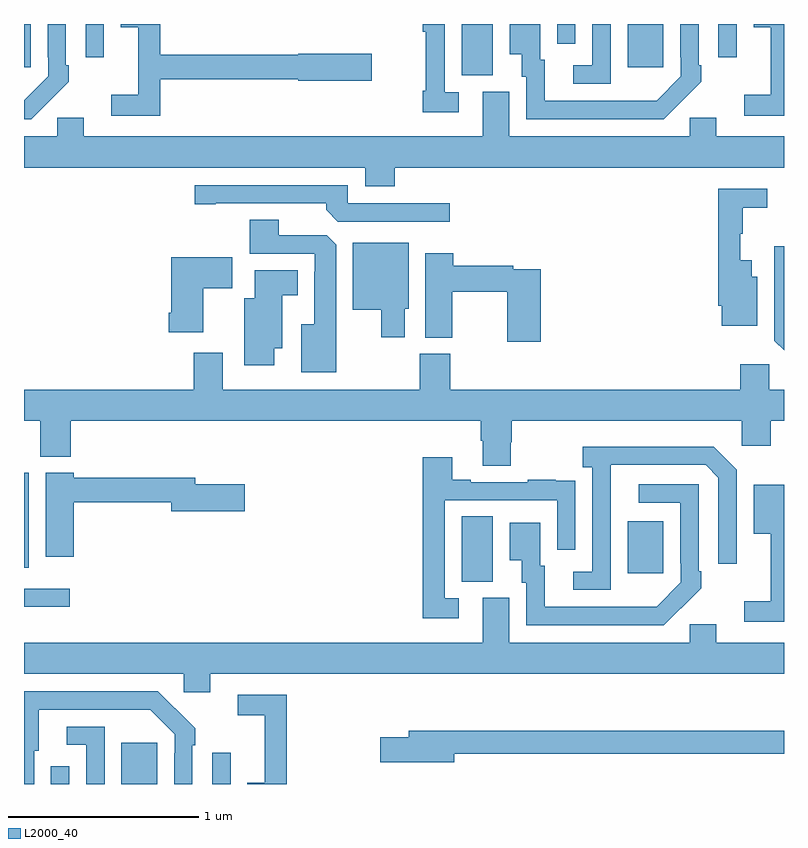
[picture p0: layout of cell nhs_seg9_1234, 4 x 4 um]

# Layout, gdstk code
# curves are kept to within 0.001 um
import gdstk
lib = gdstk.Library(unit=1e-6, precision=1e-09)
def R(c, l, rs):  # rectangles x0, y0, x1, y1
    for r in rs: c.add(gdstk.rectangle(r[:2], r[2:], *l))
def P(c, l, *ps):  # polygons
    for p in ps: c.add(gdstk.Polygon(p, *l))
L2000_40 = (2000, 40)

nhs_seg9_1234 = lib.new_cell('nhs_seg9_1234')
R(nhs_seg9_1234, L2000_40, [(179.142,1202.5,179.238,1202.593), (179.513,1202.5,179.701,1202.716), (179.991,1202.5,180.087,1202.665), (179,1203.432,179.242,1203.528), (181.304,1203.565,181.468,1203.908), (182.177,1203.609,182.365,1203.883), (179,1203.638,179.026,1204.138), (181.304,1206.229,181.468,1206.5), (179,1206.273,179.035,1206.5), (182.177,1206.273,182.365,1206.5), (179.325,1206.324,179.421,1206.5), (182.655,1206.324,182.751,1206.5), (181.806,1206.396,181.902,1206.5)])
P(nhs_seg9_1234, L2000_40, [(181.288,1206.141),(181.215,1206.141),(181.215,1206.5),(181.099,1206.5),(181.099,1206.459),(181.114,1206.459),(181.114,1206.148),(181.099,1206.148),(181.099,1206.036),(181.288,1206.036)],
  [(179.129,1206.091),(179.13,1206.09),(179.235,1206.195),(179.235,1206.283),(179.22,1206.283),(179.22,1206.5),(179.124,1206.5),(179.124,1206.325),(179.127,1206.325),(179.127,1206.225),(179,1206.098),(179,1206),(179.038,1206)],
  [(183,1206.5),(182.84,1206.5),(182.84,1206.482),(182.93,1206.482),(182.93,1206.127),(182.79,1206.127),(182.79,1206.018),(183,1206.018)],
  [(182.459,1206.091),(182.46,1206.09),(182.565,1206.195),(182.565,1206.283),(182.55,1206.283),(182.55,1206.5),(182.454,1206.5),(182.454,1206.325),(182.457,1206.325),(182.457,1206.225),(182.329,1206.097),(182.225,1206.096),(181.741,1206.096),(181.741,1206.312),(181.717,1206.312),(181.717,1206.5),(181.556,1206.5),(181.556,1206.341),(181.619,1206.341),(181.619,1206.222),(181.644,1206.222),(181.644,1206),(182.368,1206)],
  [(179.717,1206.21),(180.444,1206.21),(180.444,1206.202),(180.829,1206.202),(180.829,1206.344),(180.444,1206.344),(180.444,1206.338),(179.717,1206.338),(179.717,1206.5),(179.51,1206.5),(179.51,1206.482),(179.6,1206.482),(179.6,1206.127),(179.46,1206.127),(179.46,1206.018),(179.717,1206.018)],
  [(182.088,1206.5),(181.992,1206.5),(181.992,1206.282),(181.89,1206.282),(181.89,1206.186),(182.088,1206.186)],
  [(180.95,1205.744),(183,1205.744),(183,1205.908),(182.644,1205.908),(182.644,1206.006),(182.505,1206.006),(182.505,1205.908),(181.555,1205.908),(181.555,1206.144),(181.415,1206.144),(181.415,1205.908),(179.314,1205.908),(179.314,1206.006),(179.175,1206.006),(179.175,1205.908),(179,1205.908),(179,1205.744),(180.797,1205.744),(180.797,1205.645),(180.95,1205.645)],
  [(181.24,1205.556),(180.705,1205.556),(180.705,1205.652),(179.898,1205.652),(179.898,1205.551),(180.01,1205.551),(180.01,1205.556),(180.59,1205.556),(180.59,1205.522),(180.651,1205.46),(181.24,1205.46)],
  [(182.86,1205.17),(182.83,1205.17),(182.83,1205.257),(182.771,1205.257),(182.771,1205.397),(182.782,1205.397),(182.782,1205.533),(182.911,1205.533),(182.911,1205.634),(182.653,1205.634),(182.653,1205.017),(182.672,1205.017),(182.672,1204.913),(182.86,1204.913)],
  [(180.643,1205.339),(180.594,1205.388),(180.34,1205.388),(180.34,1205.471),(180.188,1205.471),(180.188,1205.292),(180.531,1205.292),(180.531,1205.195),(180.527,1205.195),(180.527,1204.921),(180.458,1204.921),(180.458,1204.667),(180.643,1204.667)],
  [(181.003,1205.001),(181.024,1205.001),(181.024,1205.35),(180.731,1205.35),(180.731,1204.997),(180.881,1204.997),(180.881,1204.851),(181.003,1204.851)],
  [(183,1205.329),(182.949,1205.329),(182.949,1204.833),(183,1204.782)],
  [(181.721,1205.208),(181.574,1205.208),(181.574,1205.228),(181.259,1205.228),(181.259,1205.293),(181.112,1205.293),(181.112,1204.849),(181.254,1204.849),(181.254,1205.092),(181.543,1205.092),(181.543,1204.827),(181.721,1204.827)],
  [(179.944,1205.11),(180.097,1205.11),(180.097,1205.272),(179.774,1205.272),(179.774,1204.981),(179.762,1204.981),(179.762,1204.877),(179.944,1204.877)],
  [(180.316,1204.793),(180.358,1204.793),(180.358,1205.072),(180.442,1205.072),(180.442,1205.203),(180.215,1205.203),(180.215,1205.056),(180.158,1205.056),(180.158,1204.704),(180.316,1204.704)],
  [(181.563,1204.299),(181.568,1204.299),(181.568,1204.412),(182.778,1204.412),(182.778,1204.281),(182.93,1204.281),(182.93,1204.412),(183,1204.412),(183,1204.576),(182.922,1204.576),(182.922,1204.708),(182.771,1204.708),(182.771,1204.576),(181.244,1204.576),(181.244,1204.764),(181.084,1204.764),(181.084,1204.576),(180.046,1204.576),(180.046,1204.771),(179.894,1204.771),(179.894,1204.576),(179,1204.576),(179,1204.412),(179.086,1204.412),(179.086,1204.223),(179.246,1204.223),(179.246,1204.412),(181.403,1204.412),(181.403,1204.306),(181.415,1204.306),(181.415,1204.174),(181.563,1204.174)],
  [(182.088,1203.979),(182.089,1204.179),(182.589,1204.179),(182.655,1204.113),(182.655,1203.66),(182.751,1203.66),(182.751,1204.155),(182.63,1204.276),(181.941,1204.276),(181.941,1204.166),(181.992,1204.166),(181.992,1203.618),(181.89,1203.618),(181.89,1203.522),(182.088,1203.522)],
  [(181.288,1203.477),(181.215,1203.477),(181.215,1203.993),(181.806,1203.993),(181.806,1203.732),(181.902,1203.732),(181.902,1203.986),(181.901,1203.986),(181.901,1204.095),(181.799,1204.095),(181.799,1204.102),(181.651,1204.102),(181.651,1204.089),(181.351,1204.089),(181.351,1204.102),(181.255,1204.102),(181.255,1204.219),(181.099,1204.219),(181.099,1203.372),(181.288,1203.372)],
  [(179.261,1203.982),(179.774,1203.982),(179.774,1203.935),(180.163,1203.935),(180.163,1204.077),(179.902,1204.077),(179.902,1204.111),(179.261,1204.111),(179.261,1204.138),(179.114,1204.138),(179.114,1203.696),(179.261,1203.696)],
  [(182.459,1203.427),(182.46,1203.426),(182.565,1203.531),(182.565,1203.619),(182.55,1203.619),(182.55,1204.077),(182.235,1204.077),(182.235,1203.981),(182.454,1203.981),(182.454,1203.661),(182.457,1203.661),(182.457,1203.561),(182.329,1203.433),(181.741,1203.432),(181.741,1203.648),(181.717,1203.648),(181.717,1203.874),(181.556,1203.874),(181.556,1203.677),(181.619,1203.677),(181.619,1203.558),(181.644,1203.558),(181.644,1203.336),(182.368,1203.336)],
  [(183,1204.075),(182.84,1204.075),(182.84,1203.818),(182.93,1203.818),(182.93,1203.463),(182.79,1203.463),(182.79,1203.354),(183,1203.354)],
  [(179.98,1203.08),(183,1203.08),(183,1203.244),(182.644,1203.244),(182.644,1203.342),(182.505,1203.342),(182.505,1203.244),(181.555,1203.244),(181.555,1203.48),(181.415,1203.48),(181.415,1203.244),(179,1203.244),(179,1203.08),(179.841,1203.08),(179.841,1202.982),(179.98,1202.982)],
  [(179.053,1202.676),(179.077,1202.676),(179.077,1202.892),(179.665,1202.892),(179.793,1202.763),(179.793,1202.663),(179.79,1202.663),(179.79,1202.5),(179.886,1202.5),(179.886,1202.705),(179.901,1202.705),(179.901,1202.793),(179.704,1202.988),(179,1202.988),(179,1202.5),(179.053,1202.5)],
  [(180.383,1202.97),(180.126,1202.97),(180.126,1202.862),(180.266,1202.862),(180.266,1202.506),(180.176,1202.506),(180.176,1202.5),(180.383,1202.5)],
  [(179.424,1202.802),(179.226,1202.802),(179.226,1202.706),(179.328,1202.706),(179.328,1202.5),(179.424,1202.5)],
  [(181.264,1202.658),(183,1202.658),(183,1202.779),(181.025,1202.779),(181.025,1202.745),(180.876,1202.745),(180.876,1202.615),(181.264,1202.615)])

lib.write_gds('nhs_seg9_1234.gds')
